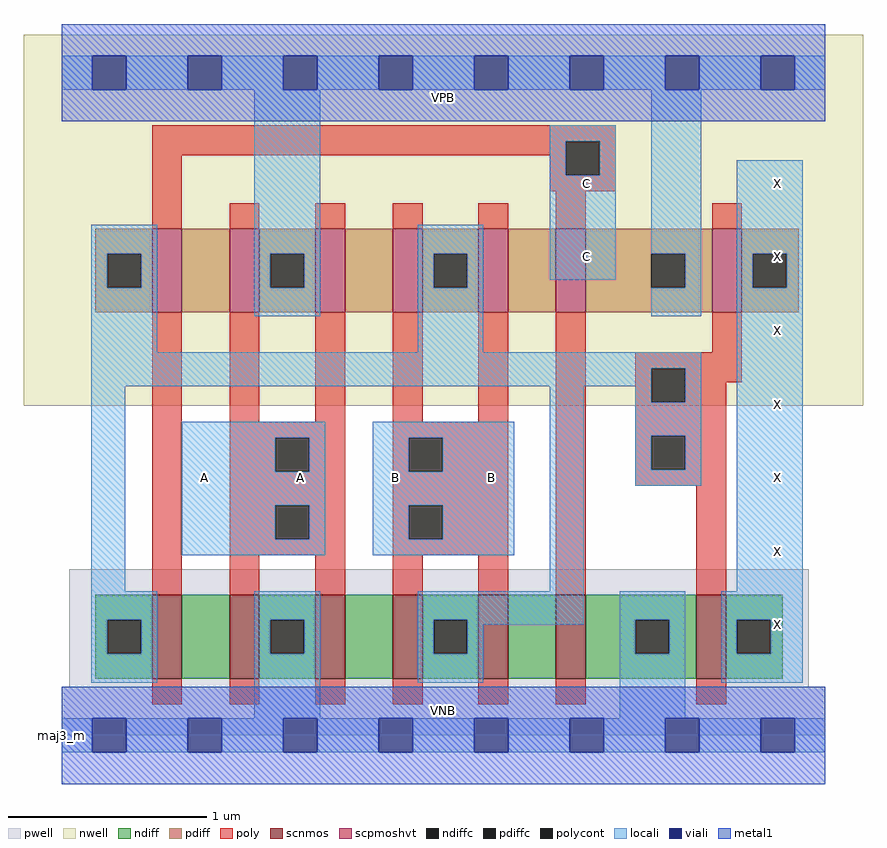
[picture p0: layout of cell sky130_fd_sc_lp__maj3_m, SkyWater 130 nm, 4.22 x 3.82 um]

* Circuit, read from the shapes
.subckt sky130_fd_sc_lp__maj3_m A B C VGND VNB VPB VPWR X
XM1 n1 C n2 VNB sky130_fd_pr__nfet_01v8 w=0.42 l=0.15
XM2 VGND A n1 VNB sky130_fd_pr__nfet_01v8 w=0.42 l=0.15
XM3 n3 A VGND VNB sky130_fd_pr__nfet_01v8 w=0.42 l=0.15
XM4 n2 B n3 VNB sky130_fd_pr__nfet_01v8 w=0.42 l=0.15
XM5 n4 B n2 VNB sky130_fd_pr__nfet_01v8 w=0.42 l=0.15
XM6 VGND C n4 VNB sky130_fd_pr__nfet_01v8 w=0.42 l=0.15
XM7 X n2 VGND VNB sky130_fd_pr__nfet_01v8 w=0.42 l=0.15
XM8 n5 C n2 VPB sky130_fd_pr__pfet_01v8_hvt w=0.42 l=0.15
XM9 VPWR A n5 VPB sky130_fd_pr__pfet_01v8_hvt w=0.42 l=0.15
XM10 n6 A VPWR VPB sky130_fd_pr__pfet_01v8_hvt w=0.42 l=0.15
XM11 n2 B n6 VPB sky130_fd_pr__pfet_01v8_hvt w=0.42 l=0.15
XM12 n7 B n2 VPB sky130_fd_pr__pfet_01v8_hvt w=0.42 l=0.15
XM13 VPWR C n7 VPB sky130_fd_pr__pfet_01v8_hvt w=0.42 l=0.15
XM14 X n2 VPWR VPB sky130_fd_pr__pfet_01v8_hvt w=0.42 l=0.15
.ends

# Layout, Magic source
magic
tech sky130A
magscale 1 2
<< nwell >>
rect -38 331 806 704
<< pwell >>
rect 8 49 751 167
rect 0 0 768 49
<< scnmos >>
rect 91 57 121 141
rect 169 57 199 141
rect 255 57 285 141
rect 333 57 363 141
rect 419 57 449 141
rect 497 57 527 141
rect 638 57 668 141
<< scpmoshvt >>
rect 91 425 121 509
rect 169 425 199 509
rect 255 425 285 509
rect 333 425 363 509
rect 419 425 449 509
rect 497 425 527 509
rect 654 425 684 509
<< ndiff >>
rect 34 116 91 141
rect 34 82 46 116
rect 80 82 91 116
rect 34 57 91 82
rect 121 57 169 141
rect 199 116 255 141
rect 199 82 210 116
rect 244 82 255 116
rect 199 57 255 82
rect 285 57 333 141
rect 363 116 419 141
rect 363 82 374 116
rect 408 82 419 116
rect 363 57 419 82
rect 449 57 497 141
rect 527 116 638 141
rect 527 82 577 116
rect 611 82 638 116
rect 527 57 638 82
rect 668 116 725 141
rect 668 82 679 116
rect 713 82 725 116
rect 668 57 725 82
<< pdiff >>
rect 34 484 91 509
rect 34 450 46 484
rect 80 450 91 484
rect 34 425 91 450
rect 121 425 169 509
rect 199 484 255 509
rect 199 450 210 484
rect 244 450 255 484
rect 199 425 255 450
rect 285 425 333 509
rect 363 484 419 509
rect 363 450 374 484
rect 408 450 419 484
rect 363 425 419 450
rect 449 425 497 509
rect 527 484 654 509
rect 527 450 593 484
rect 627 450 654 484
rect 527 425 654 450
rect 684 484 741 509
rect 684 450 695 484
rect 729 450 741 484
rect 684 425 741 450
<< ndiffc >>
rect 46 82 80 116
rect 210 82 244 116
rect 374 82 408 116
rect 577 82 611 116
rect 679 82 713 116
<< pdiffc >>
rect 46 450 80 484
rect 210 450 244 484
rect 374 450 408 484
rect 593 450 627 484
rect 695 450 729 484
<< poly >>
rect 91 597 557 613
rect 91 583 507 597
rect 91 509 121 583
rect 491 563 507 583
rect 541 563 557 597
rect 491 547 557 563
rect 169 509 199 535
rect 255 509 285 535
rect 333 509 363 535
rect 419 509 449 535
rect 497 509 527 547
rect 654 509 684 535
rect 91 141 121 425
rect 169 315 199 425
rect 255 315 285 425
rect 169 299 285 315
rect 169 265 215 299
rect 249 265 285 299
rect 169 231 285 265
rect 169 197 215 231
rect 249 197 285 231
rect 169 181 285 197
rect 169 141 199 181
rect 255 141 285 181
rect 333 315 363 425
rect 419 315 449 425
rect 333 299 449 315
rect 333 265 349 299
rect 383 265 449 299
rect 333 231 449 265
rect 333 197 349 231
rect 383 197 449 231
rect 333 181 449 197
rect 333 141 363 181
rect 419 141 449 181
rect 497 141 527 425
rect 654 385 684 425
rect 577 369 684 385
rect 577 335 593 369
rect 627 355 684 369
rect 627 335 668 355
rect 577 301 668 335
rect 577 267 593 301
rect 627 267 668 301
rect 577 251 668 267
rect 638 141 668 251
rect 91 31 121 57
rect 169 31 199 57
rect 255 31 285 57
rect 333 31 363 57
rect 419 31 449 57
rect 497 31 527 57
rect 638 31 668 57
<< polycont >>
rect 507 563 541 597
rect 215 265 249 299
rect 215 197 249 231
rect 349 265 383 299
rect 349 197 383 231
rect 593 335 627 369
rect 593 267 627 301
<< locali >>
rect 0 649 31 683
rect 65 649 127 683
rect 161 649 223 683
rect 257 649 319 683
rect 353 649 415 683
rect 449 649 511 683
rect 545 649 607 683
rect 641 649 703 683
rect 737 649 768 683
rect 30 484 96 513
rect 30 450 46 484
rect 80 450 96 484
rect 30 385 96 450
rect 194 484 260 649
rect 491 597 557 613
rect 491 563 507 597
rect 541 563 557 597
rect 194 450 210 484
rect 244 450 260 484
rect 194 421 260 450
rect 358 484 424 513
rect 358 450 374 484
rect 408 450 424 484
rect 491 458 557 563
rect 593 484 643 649
rect 358 385 424 450
rect 627 450 643 484
rect 593 421 643 450
rect 679 484 745 578
rect 679 450 695 484
rect 729 450 745 484
rect 30 369 643 385
rect 30 351 593 369
rect 30 145 64 351
rect 121 299 265 315
rect 121 265 215 299
rect 249 265 265 299
rect 121 231 265 265
rect 121 197 215 231
rect 249 197 265 231
rect 121 181 265 197
rect 313 299 455 315
rect 313 265 349 299
rect 383 265 455 299
rect 313 231 455 265
rect 313 197 349 231
rect 383 197 455 231
rect 313 181 455 197
rect 491 145 525 351
rect 577 335 593 351
rect 627 335 643 369
rect 577 301 643 335
rect 577 267 593 301
rect 627 267 643 301
rect 577 251 643 267
rect 679 145 745 450
rect 30 116 96 145
rect 30 82 46 116
rect 80 82 96 116
rect 30 53 96 82
rect 194 116 260 145
rect 194 82 210 116
rect 244 82 260 116
rect 194 17 260 82
rect 358 116 525 145
rect 358 82 374 116
rect 408 111 525 116
rect 561 116 627 145
rect 408 82 424 111
rect 358 53 424 82
rect 561 82 577 116
rect 611 82 627 116
rect 561 17 627 82
rect 663 116 745 145
rect 663 82 679 116
rect 713 82 745 116
rect 663 53 745 82
rect 0 -17 31 17
rect 65 -17 127 17
rect 161 -17 223 17
rect 257 -17 319 17
rect 353 -17 415 17
rect 449 -17 511 17
rect 545 -17 607 17
rect 641 -17 703 17
rect 737 -17 768 17
<< viali >>
rect 31 649 65 683
rect 127 649 161 683
rect 223 649 257 683
rect 319 649 353 683
rect 415 649 449 683
rect 511 649 545 683
rect 607 649 641 683
rect 703 649 737 683
rect 31 -17 65 17
rect 127 -17 161 17
rect 223 -17 257 17
rect 319 -17 353 17
rect 415 -17 449 17
rect 511 -17 545 17
rect 607 -17 641 17
rect 703 -17 737 17
<< metal1 >>
rect 0 683 768 715
rect 0 649 31 683
rect 65 649 127 683
rect 161 649 223 683
rect 257 649 319 683
rect 353 649 415 683
rect 449 649 511 683
rect 545 649 607 683
rect 641 649 703 683
rect 737 649 768 683
rect 0 617 768 649
rect 0 17 768 49
rect 0 -17 31 17
rect 65 -17 127 17
rect 161 -17 223 17
rect 257 -17 319 17
rect 353 -17 415 17
rect 449 -17 511 17
rect 545 -17 607 17
rect 641 -17 703 17
rect 737 -17 768 17
rect 0 -49 768 -17
<< labels >>
flabel pwell s 0 0 768 49 0 FreeSans 200 0 0 0 VNB
port 5 nsew ground bidirectional
flabel nwell s 0 617 768 666 0 FreeSans 200 0 0 0 VPB
port 6 nsew power bidirectional
rlabel comment s 0 0 0 0 4 maj3_m
flabel metal1 s 0 617 768 666 0 FreeSans 340 0 0 0 VPWR
port 7 nsew power bidirectional
flabel metal1 s 0 0 768 49 0 FreeSans 340 0 0 0 VGND
port 4 nsew ground bidirectional
flabel locali s 127 242 161 276 0 FreeSans 340 0 0 0 A
port 1 nsew signal input
flabel locali s 223 242 257 276 0 FreeSans 340 0 0 0 A
port 1 nsew signal input
flabel locali s 319 242 353 276 0 FreeSans 340 0 0 0 B
port 2 nsew signal input
flabel locali s 415 242 449 276 0 FreeSans 340 0 0 0 B
port 2 nsew signal input
flabel locali s 511 464 545 498 0 FreeSans 340 0 0 0 C
port 3 nsew signal input
flabel locali s 511 538 545 572 0 FreeSans 340 0 0 0 C
port 3 nsew signal input
flabel locali s 703 94 737 128 0 FreeSans 340 0 0 0 X
port 8 nsew signal output
flabel locali s 703 168 737 202 0 FreeSans 340 0 0 0 X
port 8 nsew signal output
flabel locali s 703 242 737 276 0 FreeSans 340 0 0 0 X
port 8 nsew signal output
flabel locali s 703 316 737 350 0 FreeSans 340 0 0 0 X
port 8 nsew signal output
flabel locali s 703 390 737 424 0 FreeSans 340 0 0 0 X
port 8 nsew signal output
flabel locali s 703 464 737 498 0 FreeSans 340 0 0 0 X
port 8 nsew signal output
flabel locali s 703 538 737 572 0 FreeSans 340 0 0 0 X
port 8 nsew signal output
<< properties >>
string LEFsite unit
string LEFclass CORE
string FIXED_BBOX 0 0 768 666
string GDS_FILE $PDKPATH/libs.ref/sky130_fd_sc_lp/gds/sky130_fd_sc_lp.gds
string LEFsymmetry X Y R90
string GDS_END 6640996
string GDS_START 6634466
<< end >>
